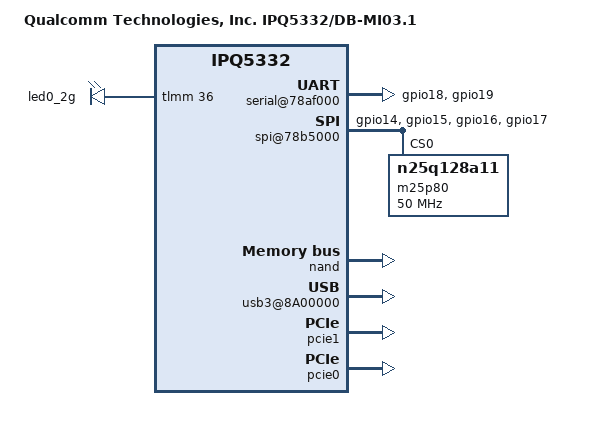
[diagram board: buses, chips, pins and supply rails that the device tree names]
// SPDX-License-Identifier: (GPL-2.0+ OR BSD-3-Clause)
/*
 * IPQ5332 DB-MI03.1 board device tree source
 *
 * Copyright (c) 2020-2021 The Linux Foundation. All rights reserved.
 * Copyright (c) 2022 Qualcomm Innovation Center, Inc. All rights reserved.
 */

/dts-v1/;

#include "ipq5332.dtsi"
#include "ipq5332-memory.dtsi"

/ {
	#address-cells = <0x2>;
	#size-cells = <0x2>;
	model = "Qualcomm Technologies, Inc. IPQ5332/DB-MI03.1";
	compatible = "qcom,ipq5332-db-mi03.1", "qcom,ipq5332";
	interrupt-parent = <&intc>;

	aliases {
		serial0 = &blsp1_uart0;
		ethernet0 = "/soc/dp1";
		ethernet1 = "/soc/dp2";
	};

	chosen {
		stdout-path = "serial0";
		bootargs-append = " clk_ignore_unused";
	};

	soc {
		pinctrl@1000000 {
			spi_0_pins: spi0-pinmux {
				spi_clock {
					pins = "gpio14";
					function = "blsp0_spi";
					drive-strength = <8>;
					bias-pull-up;
				};

				spi_mosi {
					pins = "gpio15";
					function = "blsp0_spi";
					drive-strength = <8>;
					bias-pull-up;
				};

				spi_miso {
					pins = "gpio16";
					function = "blsp0_spi";
					drive-strength = <8>;
					bias-pull-up;
				};

				spi_cs {
					pins = "gpio17";
					function = "blsp0_spi";
					drive-strength = <8>;
					bias-pull-up;
				};
			};

			serial_0_pins: serial0-pinmux {
				pins = "gpio18", "gpio19";
				function = "blsp0_uart0";
				drive-strength = <8>;
				bias-pull-up;
			};

			leds_pins: leds_pinmux {
				led0_2g {
					pins = "gpio36";
					function = "gpio";
					drive-strength = <8>;
					bias-pull-down;
				};
			};

		};

		serial@78af000 {
			pinctrl-0 = <&serial_0_pins>;
			pinctrl-names = "default";
			status = "ok";
		};

		spi@78b5000 {
			pinctrl-0 = <&spi_0_pins>;
			pinctrl-names = "default";
			cs-select = <0>;
			status = "ok";

			m25p80@0 {
				compatible = "n25q128a11";
				#address-cells = <1>;
				#size-cells = <1>;
				reg = <0>;
				spi-max-frequency = <50000000>;
			};
		};

		dma@7984000 {
			status = "ok";
		};

		nand: nand@79b0000 {
			pinctrl-0 = <&qspi_nand_pins>;
			pinctrl-names = "default";
			status = "ok";
		};

		usb3@8A00000 {
			status = "ok";
			qcom,select-utmi-as-pipe-clk;
			dwc_0: dwc3@8A00000 {
				/delete-property/ #phy-cells;
				/delete-property/ phys;
				/delete-property/ phy-names;
			};
		};

		hs_m31phy_0: hs_m31phy@7b000 {
			status = "ok";
		};

		leds {
			compatible = "gpio-leds";
			pinctrl-0 = <&leds_pins>;
			pinctrl-names = "default";
			led@36 {
				label = "led0_2g";
				gpios = <&tlmm 36 GPIO_ACTIVE_HIGH>;
				linux,default-trigger = "led_2g";
				default-state = "off";
			};
		};

		pcie0_phy: phy@4b0000 {
			status = "ok";
		};

		pcie1_phy_x2: phy_x2@4b1000 {
			status = "ok";
		};

		pcie1: pcie@18000000 {
			status = "ok";
			pcie1_rp {
				reg = <0 0 0 0 0>;

				qcom,mhi@1 {
					reg = <0 0 0 0 0>;
				};
			};
		};

		pcie0: pcie@20000000 {
			status = "ok";
			pcie0_rp {
				reg = <0 0 0 0 0>;

				qcom,mhi@2 {
					reg = <0 0 0 0 0>;
				};
			};
		};

		q6v5_wcss: remoteproc@d100000 {

			memory-region = <&q6_region>;
		};

		/delete-node/ tmc@4048000;
		/delete-node/ replicator@4046000;
		/delete-node/ etf@4047000;
		/delete-node/ funnel@4045000;
		/delete-node/ funnel@4041000;
		/delete-node/ funnel@4042000;
		/delete-node/ stm@4002000;
		/delete-node/ funnel@50a1000;
		/delete-node/ etm@509c000;
		/delete-node/ etm@509d000;
		/delete-node/ etm@509e000;
		/delete-node/ etm@509f000;
	};
};
